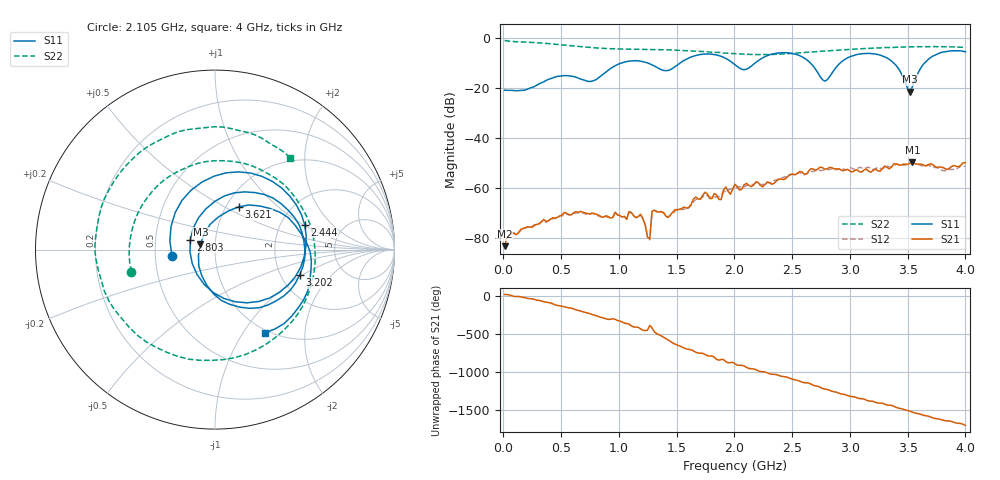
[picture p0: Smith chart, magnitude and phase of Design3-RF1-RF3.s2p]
! 9/28/2016 12:33:40 PM
! C:\USERS\ANRITSUUSER\DESKTOP\SWITCHES\DESIGN3-RF1-RF3.S2P
! CHANNEL.1
! TR.MEASUREMENT
! CORRECTED.DATA
# GHZ S RI R 50.0
! FREQ.GHZ  S11RE  S11IM  S21RE  S21IM  S12RE  S12IM  S22RE  S22IM
!; PortSelection: Port_12
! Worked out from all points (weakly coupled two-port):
!   201 points, 10 MHz to 4 GHz, reference 50 ohm
!   highest |S21| = -49.63 dB at 3.541 GHz (marker M1); lowest = -83.2 dB at 10 MHz (marker M2)
!   lowest |S11| = -21.2 dB at 3.521 GHz (marker M3), VSWR 1.19, Z = 42.4 + j2.62 ohm
!   |S11| at or under -10 dB: start of sweep to 1.01 GHz; 1.258 GHz to 1.525 GHz (266.6 MHz wide, 19.2 % of centre); 2.661 GHz to 2.912 GHz (250.6 MHz wide, 8.99 % of centre) (the widest 3 of 5)
!   |S22| runs from -6.5 to -0.8 dB; largest |S21 - S12| = 0.0006
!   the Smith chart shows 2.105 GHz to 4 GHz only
!   S11 on the Smith chart (normalised r, x): 2.105 GHz: 0.61, -0.04; 2.444 GHz: 2.71, +1.03; 2.803 GHz: 0.75, +0.09; 3.202 GHz: 2.53, -0.95; 3.621 GHz: 1.14, +0.59; 4 GHz: 0.96, -1.26
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0.01  0.0912 -0.0119  6.74e-05 1.65e-05  8.04e-05 5.57e-05  0.9089 -0.066
0.34915  -0.0982 0.0935  4.07e-05 -0.000234  4.29e-05 -0.000224  0.1054 -0.7957
0.6883  0.106 -0.1046  -0.000285 0.000166  -0.000267 0.000183  -0.6746 -0.0783
1.0075  -0.0523 0.3103  0.000252 0.000129  0.000257 0.000125  -0.0993 0.6085
1.26685  0.2929 -0.1023  8.38e-05 -4.88e-05  7.98e-05 -4.72e-05  0.4827 0.3589
1.2868  0.2538 -0.1511  0.000167 -0.000304  0.000159 -0.000305  0.5079 0.3184
1.34665  0.0848 -0.2349  -0.000294 -0.000164  -0.000306 -0.000138  0.5663 0.192
1.50625  -0.2708 0.1144  0.000105 0.000359  0.000121 0.000351  0.5573 -0.1664
1.66585  0.1202 0.4393  0.000628 -0.000224  0.000577 -0.000146  0.3407 -0.4429
1.8454  0.4648 0.0276  -0.000285 -0.00068  -0.000108 -0.00066  -0.0556 -0.5272
2.005  0.0461 -0.2944  -0.00118 -0.000227  -0.000997 -0.000161  -0.3637 -0.3333
2.10475  -0.24 -0.0332  -0.000999 0.000757  -0.00094 0.000621  -0.4654 -0.123
2.26435  0.0626 0.4279  0.000122 0.00118  0.000171 0.00126  -0.4058 0.248
2.4439  0.4996 0.1395  0.00148 0.000501  0.00165 0.000413  -0.0508 0.4903
2.6833  0.0501 -0.2726  -4.14e-05 -0.00241  4.42e-05 -0.00218  0.482 0.2373
2.803  -0.1376 0.0558  -0.00203 -0.00139  -0.0019 -0.00135  0.5572 -0.0855
3.202  0.4717 -0.1414  0.00121 0.00196  0.00152 0.00182  -0.3821 -0.5143
3.34165  0.1944 -0.3273  0.00242 0.000364  0.00269 4.48e-05  -0.6336 -0.1713
3.5212  -0.081 0.0306  0.00114 -0.00299  0.000888 -0.00298  -0.5912 0.3319
3.54115  -0.0594 0.0904  0.000511 -0.00326  0.000335 -0.00315  -0.5631 0.38
3.62095  0.1325 0.2388  -0.00128 -0.00275  -0.00136 -0.00249  -0.4242 0.5379
4  0.2758 -0.4649  -0.000811 0.00316  -0.000892 0.00256  0.4183 0.5122
